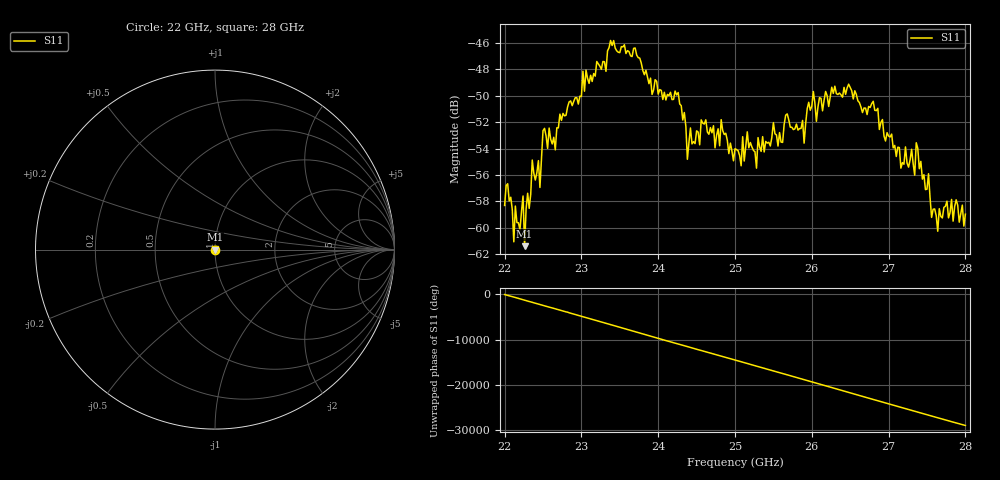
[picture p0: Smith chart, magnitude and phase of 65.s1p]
#  HZ  S  RI  R  50.00
! Rohde & Schwarz ZVA40 4Ports - Version 3.90 - 1145.1110k42 SN: 100403
! Date: 2023-10-04 07:44:45
! Measurement: S12
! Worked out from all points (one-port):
!   301 points, 22 GHz to 28 GHz, reference 50 ohm
!   lowest |S11| = -61.4 dB at 22.26 GHz (marker M1), VSWR 1.00, Z = 49.9 + j0.031 ohm
!   |S11| at or under -10 dB: start of sweep to end of sweep
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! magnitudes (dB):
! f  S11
! 22 GHz  -58.3
! 22.04 GHz  -56.7
! 22.12 GHz  -61.1
! 22.14 GHz  -58.4
! 22.2 GHz  -60.1
! 22.24 GHz  -57.6
! 22.26 GHz  -61.4
! 22.36 GHz  -54.9
! 22.46 GHz  -56.9
! 22.5 GHz  -52.6
! 22.66 GHz  -54.1
! 22.76 GHz  -51.3
! 23.5 GHz  -46.7
! 24.26 GHz  -49.8
! 24.38 GHz  -54.8
! 24.56 GHz  -51.8
! 25 GHz  -54.0
! 25.08 GHz  -55.3
! 25.16 GHz  -52.7
! 25.28 GHz  -55.5
! 25.3 GHz  -53.2
! 25.76 GHz  -52.6
! 26.5 GHz  -49.4
! 27.26 GHz  -55.4
! 27.34 GHz  -56.0
! 27.36 GHz  -53.6
! 27.64 GHz  -60.3
! 28 GHz  -59.0
